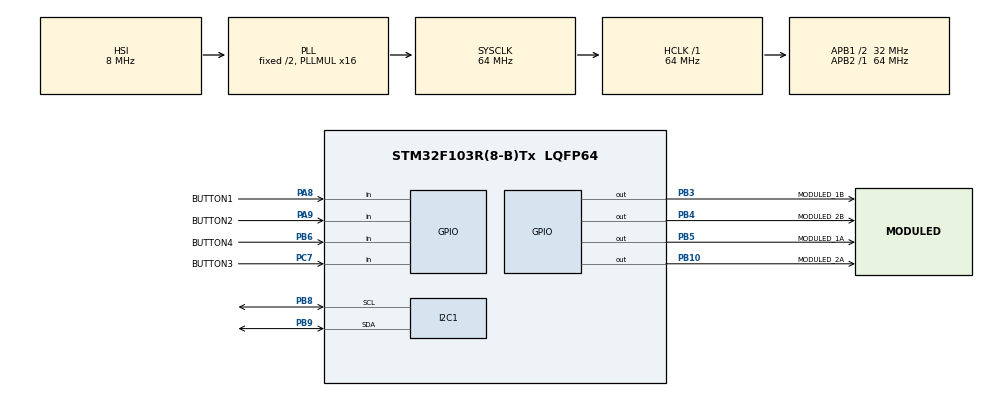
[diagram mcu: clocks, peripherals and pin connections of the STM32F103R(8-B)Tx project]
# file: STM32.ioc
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Mcu.Family=STM32F1
Mcu.Name=STM32F103R(8-B)Tx
Mcu.Package=LQFP64
NVIC.PriorityGroup=NVIC_PRIORITYGROUP_4
NVIC.TIM2_IRQn=true\:0\:0\:false\:false\:true\:true\:true
PA13.Mode=Serial_Wire
PA13.Signal=SYS_JTMS-SWDIO
PA14.Mode=Serial_Wire
PA14.Signal=SYS_JTCK-SWCLK
PA8.GPIO_Label=BUTTON1
PA8.GPIO_PuPd=GPIO_PULLUP
PA8.Signal=GPIO_Input
PA9.GPIO_Label=BUTTON2
PA9.GPIO_PuPd=GPIO_PULLUP
PA9.Signal=GPIO_Input
PB10.GPIO_Label=MODULED_2A
PB10.Signal=GPIO_Output
PB3.GPIO_Label=MODULED_1B
PB3.Signal=GPIO_Output
PB4.GPIO_Label=MODULED_2B
PB4.Signal=GPIO_Output
PB5.GPIO_Label=MODULED_1A
PB5.Signal=GPIO_Output
PB6.GPIO_Label=BUTTON4
PB6.GPIO_PuPd=GPIO_PULLUP
PB6.Signal=GPIO_Input
PB8.Mode=I2C
PB8.Signal=I2C1_SCL
PB9.Mode=I2C
PB9.Signal=I2C1_SDA
PC7.GPIO_Label=BUTTON3
PC7.GPIO_PuPd=GPIO_PULLUP
PC7.Signal=GPIO_Input
ProjectManager.HeapSize=0x200
ProjectManager.StackSize=0x400
ProjectManager.TargetToolchain=STM32CubeIDE
RCC.AHBFreq_Value=64000000
RCC.APB1CLKDivider=RCC_HCLK_DIV2
RCC.APB1Freq_Value=32000000
RCC.APB1TimFreq_Value=64000000
RCC.APB2Freq_Value=64000000
RCC.APB2TimFreq_Value=64000000
RCC.HCLKFreq_Value=64000000
RCC.PLLMUL=RCC_PLL_MUL16
RCC.SYSCLKFreq_VALUE=64000000
RCC.SYSCLKSource=RCC_SYSCLKSOURCE_PLLCLK
RCC.USBFreq_Value=64000000
TIM2.Period=9
TIM2.Prescaler=7999
VP_TIM2_VS_ClockSourceINT.Mode=Internal
board=custom

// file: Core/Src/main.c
/* USER CODE BEGIN Header */
/**
  ******************************************************************************
  * @file           : main.c
  * @brief          : Main program body
  ******************************************************************************
  * @attention
  *
  * <h2><center>&copy; Copyright (c) 2025 STMicroelectronics.
  * All rights reserved.</center></h2>
  *
  * This software component is licensed by ST under BSD 3-Clause license,
  * the "License"; You may not use this file except in compliance with the
  * License. You may obtain a copy of the License at:
  *                        opensource.org/licenses/BSD-3-Clause
  *
  ******************************************************************************
  */
/* USER CODE END Header */
#include "main.h"

/* USER CODE BEGIN Includes */
#include "software_timer.h"
#include "button.h"
#include "lcd_i2c.h"
#include "global.h"
#include "fsm_automatic.h"
#include "fsm_tunning.h"
#include"fsm_manual.h"
#include "led_traffic.h"
#include "scheduler.h"
/* USER CODE END Includes */

I2C_HandleTypeDef hi2c1;

TIM_HandleTypeDef htim2;

void SystemClock_Config(void);
static void MX_GPIO_Init(void);
static void MX_I2C1_Init(void);
static void MX_TIM2_Init(void);

int main(void)
{

  /* MCU Configuration--------------------------------------------------------*/

  /* Reset of all peripherals, Initializes the Flash interface and the Systick. */
  HAL_Init();

  /* Configure the system clock */
  SystemClock_Config();

  /* Initialize all configured peripherals */
  MX_GPIO_Init();
  MX_I2C1_Init();
  MX_TIM2_Init();
  /* USER CODE BEGIN 2 */
  HAL_TIM_Base_Start_IT(&htim2);
    button_init();
    lcd_init();

    RGB_TrafficLight_Init(&RGB_tl1, MODULED_1A_Pin, MODULED_1B_Pin,
                          MODULED_1A_GPIO_Port, MODULED_1B_GPIO_Port);

    RGB_TrafficLight_Init(&RGB_tl2, MODULED_2A_Pin, MODULED_2B_Pin,
                          MODULED_2A_GPIO_Port, MODULED_2B_GPIO_Port);
    init_automatic_mode();

      // === CÀI ĐẶT SCHEDULER ===
      SCH_Init();

      // Thêm các tác vụ vào Scheduler (Chu kỳ Timer2 là 10ms)

      // 1. Quét phím: Chạy mỗi 10ms (Period = 1)
      SCH_Add_Task(getKeyInput, 0, 1);

      // 2. Các máy trạng thái FSM: Chạy mỗi 10ms để kiểm tra cờ timer và nút bấm
      SCH_Add_Task(fsm_automatic_run, 0, 1);
      SCH_Add_Task(fsm_tunning_run, 0, 1);
      SCH_Add_Task(fsm_manual_run, 0, 1);

      /* USER CODE END 2 */

  /* USER CODE END 2 */
   setTimer0(2000);
   setTimer1(3000);
   setTimer2(10000);
   setTimer3(1000);
  /* Infinite loop */
  while (1)
  {
//       fsm_automatic_run();
//       fsm_tunning_run();
//       fsm_manual_run();
	  SCH_Dispatch_Tasks();
  }
}

void SystemClock_Config(void)
{
  RCC_OscInitTypeDef RCC_OscInitStruct = {0};
  RCC_ClkInitTypeDef RCC_ClkInitStruct = {0};

  /** Initializes the RCC Oscillators according to the specified parameters
  * in the RCC_OscInitTypeDef structure.
  */
  RCC_OscInitStruct.OscillatorType = RCC_OSCILLATORTYPE_HSI;
  RCC_OscInitStruct.HSIState = RCC_HSI_ON;
  RCC_OscInitStruct.HSICalibrationValue = RCC_HSICALIBRATION_DEFAULT;
  RCC_OscInitStruct.PLL.PLLState = RCC_PLL_ON;
  RCC_OscInitStruct.PLL.PLLSource = RCC_PLLSOURCE_HSI_DIV2;
  RCC_OscInitStruct.PLL.PLLMUL = RCC_PLL_MUL16;
  if (HAL_RCC_OscConfig(&RCC_OscInitStruct) != HAL_OK)
  {
    Error_Handler();
  }
  /** Initializes the CPU, AHB and APB buses clocks
  */
  RCC_ClkInitStruct.ClockType = RCC_CLOCKTYPE_HCLK|RCC_CLOCKTYPE_SYSCLK
                              |RCC_CLOCKTYPE_PCLK1|RCC_CLOCKTYPE_PCLK2;
  RCC_ClkInitStruct.SYSCLKSource = RCC_SYSCLKSOURCE_PLLCLK;
  RCC_ClkInitStruct.AHBCLKDivider = RCC_SYSCLK_DIV1;
  RCC_ClkInitStruct.APB1CLKDivider = RCC_HCLK_DIV2;
  RCC_ClkInitStruct.APB2CLKDivider = RCC_HCLK_DIV1;

  if (HAL_RCC_ClockConfig(&RCC_ClkInitStruct, FLASH_LATENCY_2) != HAL_OK)
  {
    Error_Handler();
  }
}

static void MX_I2C1_Init(void)
{

  hi2c1.Instance = I2C1;
  hi2c1.Init.ClockSpeed = 100000;
  hi2c1.Init.DutyCycle = I2C_DUTYCYCLE_2;
  hi2c1.Init.OwnAddress1 = 0;
  hi2c1.Init.AddressingMode = I2C_ADDRESSINGMODE_7BIT;
  hi2c1.Init.DualAddressMode = I2C_DUALADDRESS_DISABLE;
  hi2c1.Init.OwnAddress2 = 0;
  hi2c1.Init.GeneralCallMode = I2C_GENERALCALL_DISABLE;
  hi2c1.Init.NoStretchMode = I2C_NOSTRETCH_DISABLE;
  if (HAL_I2C_Init(&hi2c1) != HAL_OK)
  {
    Error_Handler();
  }

}

static void MX_TIM2_Init(void)
{

  TIM_ClockConfigTypeDef sClockSourceConfig = {0};
  TIM_MasterConfigTypeDef sMasterConfig = {0};

  htim2.Instance = TIM2;
  htim2.Init.Prescaler = 7999;
  htim2.Init.CounterMode = TIM_COUNTERMODE_UP;
  htim2.Init.Period = 9;
  htim2.Init.ClockDivision = TIM_CLOCKDIVISION_DIV1;
  htim2.Init.AutoReloadPreload = TIM_AUTORELOAD_PRELOAD_DISABLE;
  if (HAL_TIM_Base_Init(&htim2) != HAL_OK)
  {
    Error_Handler();
  }
  sClockSourceConfig.ClockSource = TIM_CLOCKSOURCE_INTERNAL;
  if (HAL_TIM_ConfigClockSource(&htim2, &sClockSourceConfig) != HAL_OK)
  {
    Error_Handler();
  }
  sMasterConfig.MasterOutputTrigger = TIM_TRGO_RESET;
  sMasterConfig.MasterSlaveMode = TIM_MASTERSLAVEMODE_DISABLE;
  if (HAL_TIMEx_MasterConfigSynchronization(&htim2, &sMasterConfig) != HAL_OK)
  {
    Error_Handler();
  }

}

static void MX_GPIO_Init(void)
{
  GPIO_InitTypeDef GPIO_InitStruct = {0};

  /* GPIO Ports Clock Enable */
  __HAL_RCC_GPIOB_CLK_ENABLE();
  __HAL_RCC_GPIOC_CLK_ENABLE();
  __HAL_RCC_GPIOA_CLK_ENABLE();

  /*Configure GPIO pin Output Level */
  HAL_GPIO_WritePin(GPIOB, MODULED_2A_Pin|MODULED_1B_Pin|MODULED_2B_Pin|MODULED_1A_Pin, GPIO_PIN_RESET);

  /*Configure GPIO pins : MODULED_2A_Pin MODULED_1B_Pin MODULED_2B_Pin MODULED_1A_Pin */
  GPIO_InitStruct.Pin = MODULED_2A_Pin|MODULED_1B_Pin|MODULED_2B_Pin|MODULED_1A_Pin;
  GPIO_InitStruct.Mode = GPIO_MODE_OUTPUT_PP;
  GPIO_InitStruct.Pull = GPIO_NOPULL;
  GPIO_InitStruct.Speed = GPIO_SPEED_FREQ_LOW;
  HAL_GPIO_Init(GPIOB, &GPIO_InitStruct);

  /*Configure GPIO pin : BUTTON3_Pin */
  GPIO_InitStruct.Pin = BUTTON3_Pin;
  GPIO_InitStruct.Mode = GPIO_MODE_INPUT;
  GPIO_InitStruct.Pull = GPIO_PULLUP;
  HAL_GPIO_Init(BUTTON3_GPIO_Port, &GPIO_InitStruct);

  /*Configure GPIO pins : BUTTON1_Pin BUTTON2_Pin */
  GPIO_InitStruct.Pin = BUTTON1_Pin|BUTTON2_Pin;
  GPIO_InitStruct.Mode = GPIO_MODE_INPUT;
  GPIO_InitStruct.Pull = GPIO_PULLUP;
  HAL_GPIO_Init(GPIOA, &GPIO_InitStruct);

  /*Configure GPIO pin : BUTTON4_Pin */
  GPIO_InitStruct.Pin = BUTTON4_Pin;
  GPIO_InitStruct.Mode = GPIO_MODE_INPUT;
  GPIO_InitStruct.Pull = GPIO_PULLUP;
  HAL_GPIO_Init(BUTTON4_GPIO_Port, &GPIO_InitStruct);

}

/* USER CODE BEGIN 4 */
void HAL_TIM_PeriodElapsedCallback(TIM_HandleTypeDef *htim)
{

//        timer_run();
//        getKeyInput();
	if (htim->Instance == TIM2) {
	        // Cập nhật bộ đếm của Scheduler
	        SCH_Update();

	        // Vẫn gọi timer_run() để giảm biến đếm (timer2_counter, timer3_counter...)
	        // dùng cho logic bên trong các hàm FSM.
	        timer_run();
	}
}
/* USER CODE END 4 */

void Error_Handler(void)
{
  __disable_irq();
  while (1)
  {
  }
}

/************************ (C) COPYRIGHT STMicroelectronics *****END OF FILE****/
